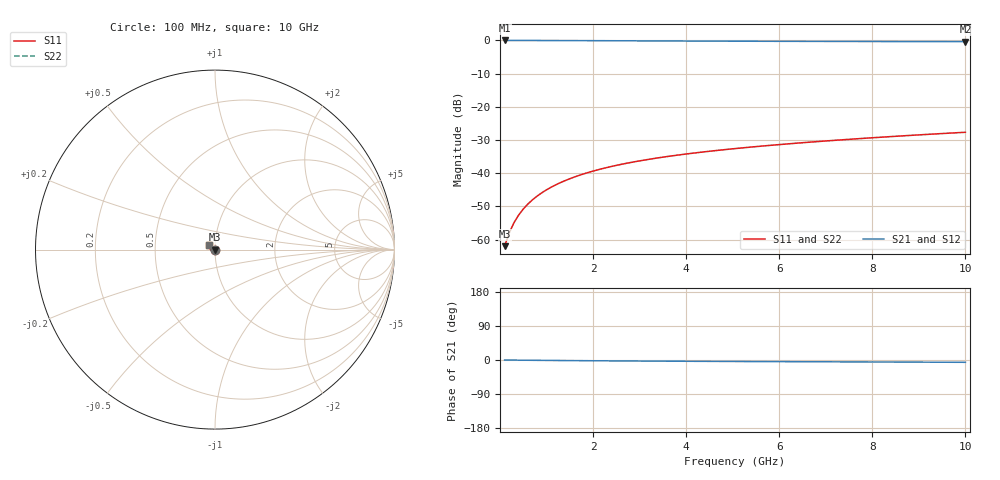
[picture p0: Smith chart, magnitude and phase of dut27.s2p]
! Touchstone file exported from HFSS 2024.1.0
!  File:  C:/UserFiles/LocalFiles/RDL_TSV_Batchsim/temp_TSV1_27_1779369563.aedt
!  Generated:  09:26:46 PM May 21, 2026
!  Design:  TSV1
!  Project:  temp_TSV1_27_1779369563
!  Setup:  Setup1
!  Solution:  Sweep
! Variables:
!  dtsv = 5.17um
!  hbump = 3um
!  htsv = 91.64um
!  lrdl = 252.1521522um
!  p = 40
!  p1 = 46.14um
!  t = 500um
!  trdl = 3um
!  wrdl = 24.89489489um
# GHz S MA R 50.000000
! Terminal data exported
! Port[1] = TSV22_T1
! Port[2] = TSV22_T2
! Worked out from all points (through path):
!   100 points, 100 MHz to 10 GHz, reference 50 ohm
!   highest |S21| = -0.01 dB at 100 MHz (marker M1); lowest = -0.4 dB at 10 GHz (marker M2)
!   lowest |S11| = -62.0 dB at 100 MHz (marker M3), VSWR 1.00, Z = 50.1 - j0.0576 ohm
!   |S11| at or under -10 dB: start of sweep to end of sweep
!   |S22| runs from -62.0 to -27.7 dB; largest |S21 - S12| = 3e-15
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0.1  0.0007941 -46.4  0.9994 -0.1  0.9994 -0.1  0.0007941 -46.4
! Gamma 0 0 0 0
! Port Impedance 50 0 50 0
0.2  0.001262 -67.2  0.9993 -0.2  0.9993 -0.2  0.001262 -67.2
0.3  0.001786 -77.7  0.9992 -0.3  0.9992 -0.3  0.001786 -77.7
0.4  0.002328 -84.5  0.999 -0.4  0.999 -0.4  0.002328 -84.5
0.5  0.002876 -89.5  0.9988 -0.5  0.9988 -0.5  0.002876 -89.5
0.6  0.003425 -93.5  0.9986 -0.6  0.9986 -0.6  0.003425 -93.5
0.7  0.003974 -97.1  0.9983 -0.8  0.9983 -0.8  0.003974 -97.1
0.8  0.004521 -100.3  0.998 -0.9  0.998 -0.9  0.004521 -100.3
0.9  0.005066 -103.3  0.9976 -1.0  0.9976 -1.0  0.005066 -103.3
1  0.005607 -106.0  0.9972 -1.1  0.9972 -1.1  0.005607 -106.0
1.2  0.006676 -111.2  0.9964 -1.3  0.9964 -1.3  0.006676 -111.2
1.5  0.008242 -118.4  0.9948 -1.5  0.9948 -1.5  0.008242 -118.4
1.8  0.009759 -125.0  0.9931 -1.8  0.9931 -1.8  0.009759 -125.0
2.1  0.01122 -131.3  0.9913 -2.1  0.9913 -2.1  0.01122 -131.3
2.5  0.0131 -139.0  0.9887 -2.4  0.9887 -2.4  0.0131 -139.0
2.9  0.01488 -146.2  0.9862 -2.7  0.9862 -2.7  0.01488 -146.2
3.4  0.01701 -154.5  0.983 -3.0  0.983 -3.0  0.01701 -154.5
4.2  0.02022 -166.2  0.9784 -3.4  0.9784 -3.4  0.02022 -166.2
5.1  0.02364 -177.5  0.9739 -3.9  0.9739 -3.9  0.02364 -177.5
6.7  0.02948 166.5  0.9678 -4.6  0.9678 -4.6  0.02948 166.5
8.4  0.03558 153.6  0.9632 -5.4  0.9632 -5.4  0.03558 153.6
10  0.04133 144.1  0.9601 -6.1  0.9601 -6.1  0.04133 144.1
